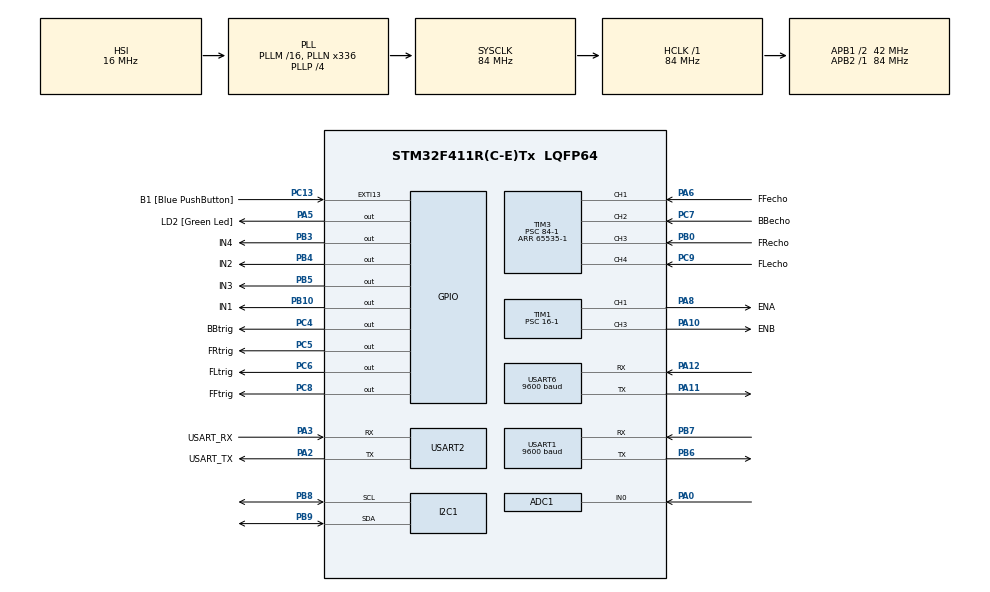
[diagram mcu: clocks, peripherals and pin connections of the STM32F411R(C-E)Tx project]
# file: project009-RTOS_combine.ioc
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ADC1.Channel-0\#ChannelRegularConversion=ADC_CHANNEL_0
ADC1.DMAContinuousRequests=ENABLE
ADC1.DiscontinuousConvMode=ENABLE
ADC1.ExternalTrigConv=ADC_EXTERNALTRIGCONV_T3_TRGO
ADC1.NbrOfConversionFlag=1
ADC1.Rank-0\#ChannelRegularConversion=1
ADC1.SamplingTime-0\#ChannelRegularConversion=ADC_SAMPLETIME_3CYCLES
ADC1.ScanConvMode=ENABLE
ADC1.master=1
Dma.ADC1.0.Direction=DMA_PERIPH_TO_MEMORY
Dma.ADC1.0.FIFOMode=DMA_FIFOMODE_DISABLE
Dma.ADC1.0.Instance=DMA2_Stream0
Dma.ADC1.0.MemDataAlignment=DMA_MDATAALIGN_HALFWORD
Dma.ADC1.0.MemInc=DMA_MINC_ENABLE
Dma.ADC1.0.Mode=DMA_CIRCULAR
Dma.ADC1.0.PeriphDataAlignment=DMA_PDATAALIGN_HALFWORD
Dma.ADC1.0.PeriphInc=DMA_PINC_DISABLE
Dma.ADC1.0.Priority=DMA_PRIORITY_LOW
Dma.Request0=ADC1
FREERTOS.Tasks01=Task1,0,512,StartTask1,Default,NULL,Dynamic,NULL,NULL;Task2,2,1024,StartTask02,Default,NULL,Dynamic,NULL,NULL;Task03,-3,512,StartTask03,Default,NULL,Dynamic,NULL,NULL
FREERTOS.configUSE_NEWLIB_REENTRANT=1
Mcu.Family=STM32F4
Mcu.Name=STM32F411R(C-E)Tx
Mcu.Package=LQFP64
NVIC.DMA2_Stream0_IRQn=true\:5\:0\:false\:false\:true\:true\:false\:true\:true
NVIC.EXTI15_10_IRQn=true\:5\:0\:false\:false\:true\:true\:true\:true\:true
NVIC.PriorityGroup=NVIC_PRIORITYGROUP_4
NVIC.TIM1_UP_TIM10_IRQn=true\:15\:0\:false\:false\:true\:false\:false\:true\:true
NVIC.TIM3_IRQn=true\:5\:0\:false\:false\:true\:true\:true\:true\:true
NVIC.TIM5_IRQn=true\:5\:0\:false\:false\:true\:true\:true\:true\:true
NVIC.TimeBase=TIM1_UP_TIM10_IRQn
NVIC.TimeBaseIP=TIM10
NVIC.USART1_IRQn=true\:5\:0\:false\:false\:true\:true\:true\:true\:true
NVIC.USART2_IRQn=true\:5\:0\:false\:false\:true\:true\:true\:true\:true
NVIC.USART6_IRQn=true\:5\:0\:false\:false\:true\:true\:true\:true\:true
PA0-WKUP.Signal=ADCx_IN0
PA10.GPIO_Label=ENB
PA10.Signal=S_TIM1_CH3
PA11.Mode=Asynchronous
PA11.Signal=USART6_TX
PA12.Mode=Asynchronous
PA12.Signal=USART6_RX
PA13.GPIO_Label=TMS
PA13.Mode=Serial_Wire
PA13.Signal=SYS_JTMS-SWDIO
PA14.GPIO_Label=TCK
PA14.Mode=Serial_Wire
PA14.Signal=SYS_JTCK-SWCLK
PA2.GPIO_Label=USART_TX
PA2.Mode=Asynchronous
PA2.Signal=USART2_TX
PA3.GPIO_Label=USART_RX
PA3.Mode=Asynchronous
PA3.Signal=USART2_RX
PA5.GPIO_Label=LD2 [Green Led]
PA5.Signal=GPIO_Output
PA6.GPIO_Label=FFecho
PA6.Signal=S_TIM3_CH1
PA8.GPIO_Label=ENA
PA8.Signal=S_TIM1_CH1
PB0.GPIO_Label=FRecho
PB0.Signal=S_TIM3_CH3
PB10.GPIO_Label=IN1
PB10.Signal=GPIO_Output
PB3.GPIO_Label=IN4
PB3.Signal=GPIO_Output
PB4.GPIO_Label=IN2
PB4.Signal=GPIO_Output
PB5.GPIO_Label=IN3
PB5.Signal=GPIO_Output
PB6.Mode=Asynchronous
PB6.Signal=USART1_TX
PB7.Mode=Asynchronous
PB7.Signal=USART1_RX
PB8.Mode=I2C
PB8.Signal=I2C1_SCL
PB9.Mode=I2C
PB9.Signal=I2C1_SDA
PC13-ANTI_TAMP.GPIO_Label=B1 [Blue PushButton]
PC13-ANTI_TAMP.GPIO_ModeDefaultEXTI=GPIO_MODE_IT_FALLING
PC13-ANTI_TAMP.Signal=GPXTI13
PC14-OSC32_IN.Mode=LSE-External-Oscillator
PC14-OSC32_IN.Signal=RCC_OSC32_IN
PC15-OSC32_OUT.Mode=LSE-External-Oscillator
PC15-OSC32_OUT.Signal=RCC_OSC32_OUT
PC4.GPIO_Label=BBtrig
PC4.Signal=GPIO_Output
PC5.GPIO_Label=FRtrig
PC5.Signal=GPIO_Output
PC6.GPIO_Label=FLtrig
PC6.Signal=GPIO_Output
PC7.GPIO_Label=BBecho
PC7.Signal=S_TIM3_CH2
PC8.GPIO_Label=FFtrig
PC8.Signal=GPIO_Output
PC9.GPIO_Label=FLecho
PC9.Signal=S_TIM3_CH4
PH0\ -\ OSC_IN.Mode=HSE-External-Clock-Source
PH0\ -\ OSC_IN.Signal=RCC_OSC_IN
PH1\ -\ OSC_OUT.Mode=HSE-External-Clock-Source
PH1\ -\ OSC_OUT.Signal=RCC_OSC_OUT
ProjectManager.HeapSize=0x200
ProjectManager.StackSize=0x400
ProjectManager.TargetToolchain=STM32CubeIDE
RCC.48MHZClocksFreq_Value=84000000
RCC.AHBFreq_Value=84000000
RCC.APB1CLKDivider=RCC_HCLK_DIV2
RCC.APB1Freq_Value=42000000
RCC.APB1TimFreq_Value=84000000
RCC.APB2Freq_Value=84000000
RCC.APB2TimFreq_Value=84000000
RCC.CortexFreq_Value=84000000
RCC.FLatency-AdvancedSettings=FLASH_LATENCY_2
RCC.HCLKFreq_Value=84000000
RCC.HSE_VALUE=8000000
RCC.HSI_VALUE=16000000
RCC.PLLN=336
RCC.PLLP=RCC_PLLP_DIV4
RCC.SYSCLKFreq_VALUE=84000000
RCC.SYSCLKSource=RCC_SYSCLKSOURCE_PLLCLK
RCC.VCOOutputFreq_Value=336000000
SH.ADCx_IN0.0=ADC1_IN0,IN0
SH.S_TIM1_CH1.0=TIM1_CH1,PWM Generation1 CH1
SH.S_TIM1_CH3.0=TIM1_CH3,PWM Generation3 CH3
SH.S_TIM3_CH1.0=TIM3_CH1,Input_Capture1_from_TI1
SH.S_TIM3_CH2.0=TIM3_CH2,Input_Capture2_from_TI2
SH.S_TIM3_CH3.0=TIM3_CH3,Input_Capture3_from_TI3
SH.S_TIM3_CH4.0=TIM3_CH4,Input_Capture4_from_TI4
TIM1.AutoReloadPreload=TIM_AUTORELOAD_PRELOAD_ENABLE
TIM1.Channel-PWM\ Generation1\ CH1=TIM_CHANNEL_1
TIM1.Channel-PWM\ Generation3\ CH3=TIM_CHANNEL_3
TIM1.Period=7500-1
TIM1.Prescaler=16-1
TIM3.AutoReloadPreload=TIM_AUTORELOAD_PRELOAD_ENABLE
TIM3.Channel-Input_Capture1_from_TI1=TIM_CHANNEL_1
TIM3.Channel-Input_Capture2_from_TI2=TIM_CHANNEL_2
TIM3.Channel-Input_Capture3_from_TI3=TIM_CHANNEL_3
TIM3.Channel-Input_Capture4_from_TI4=TIM_CHANNEL_4
TIM3.Period=65535-1
TIM3.Prescaler=84-1
TIM3.TIM_MasterOutputTrigger=TIM_TRGO_UPDATE
TIM5.AutoReloadPreload=TIM_AUTORELOAD_PRELOAD_ENABLE
TIM5.Period=10000-1
TIM5.Prescaler=4200-1
TIM5.TIM_MasterOutputTrigger=TIM_TRGO_UPDATE
USART1.BaudRate=9600
USART1.VirtualMode=VM_ASYNC
USART2.VirtualMode=VM_ASYNC
USART6.BaudRate=9600
USART6.VirtualMode=VM_ASYNC
VP_FREERTOS_VS_CMSIS_V1.Mode=CMSIS_V1
VP_SYS_VS_tim10.Mode=TIM10
VP_TIM1_VS_ClockSourceINT.Mode=Internal
VP_TIM3_VS_ClockSourceINT.Mode=Internal
VP_TIM5_VS_ClockSourceINT.Mode=Internal
board=NUCLEO-F411RE

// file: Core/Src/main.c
/* USER CODE BEGIN Header */
/**
  ******************************************************************************
  * @file           : main.c
  * @brief          : Main program body
  ******************************************************************************
  * @attention
  *
  * Copyright (c) 2025 STMicroelectronics.
  * All rights reserved.
  *
  * This software is licensed under terms that can be found in the LICENSE file
  * in the root directory of this software component.
  * If no LICENSE file comes with this software, it is provided AS-IS.
  *
  ******************************************************************************
  */
/* USER CODE END Header */
#include "main.h"
#include "cmsis_os.h"

/* USER CODE BEGIN Includes */
#include <stdio.h>
#include <math.h>
#include <string.h>

/* USER CODE END Includes */

ADC_HandleTypeDef hadc1;
DMA_HandleTypeDef hdma_adc1;

I2C_HandleTypeDef hi2c1;

TIM_HandleTypeDef htim1;
TIM_HandleTypeDef htim3;
TIM_HandleTypeDef htim5;

UART_HandleTypeDef huart1;
UART_HandleTypeDef huart2;
UART_HandleTypeDef huart6;

osThreadId Task1Handle;
osThreadId Task2Handle;
osThreadId Task03Handle;

void SystemClock_Config(void);
static void MX_GPIO_Init(void);
static void MX_DMA_Init(void);
static void MX_USART2_UART_Init(void);
static void MX_TIM1_Init(void);
static void MX_TIM3_Init(void);
static void MX_TIM5_Init(void);
static void MX_I2C1_Init(void);
static void MX_USART6_UART_Init(void);
static void MX_USART1_UART_Init(void);
static void MX_ADC1_Init(void);
void StartTask1(void const * argument);
void StartTask02(void const * argument);
void StartTask03(void const * argument);

/* USER CODE BEGIN 0 */

// Gyro Max Value
//double MAX_D = 0;
int MAX_D = 0;

// SM has to change huart6
// use : while(!printe("6100"));
int last_printe = 0;
#define BUF_SIZE 100
char buf1[BUF_SIZE], buf2[BUF_SIZE], buf3[BUF_SIZE]; // DMA Buffer
char dum1, dum2, dum3;
int tail1 = 0, tail2 = 0, tail3 = 0; // 1 : ESP, 2 : Putty, 3 : Bluetooth
//int sn; //slave number
int TCP_connect = 1, WIFI_connect = 1, esp_set = 0;
//int ESP_state = 0;

/* ESP8266 Send : Destination Information
Start point1 (8E4591) = D (2100)   		: 8
Destination point2 (37826F) = A(2200)   : 6
charging Station (A7EF18) = B(2300)	: 4 */
int ESP_send = 0;

/* send to ESP : Start Point & Charging Station
Corner (15DA51) = C (1000)
Start point1 (8E4591) = D (1100)
Destination point2 (37826F) = A(1200)
charging Station (A7EF18) = B(1300)*/
int STM_send = 0;

// Driving Mode Select
/*0 : standby, 1 : Passnger, 2 : Drive, 3 : Watchdog, 4 : Destination, 5 : Charge*/
int drive_set = 0;

/* 8E4591 : Start Point, 15DA51 : Corner Point
 37826F : Destination Point, A7EF18 : Charging State Point */
char* slave_addr[5] = {"8E4591", "15DA51", "37826F", "A7EF18"/*, "9B0C60"*/};
/*point1 (8E4591) : 1
point2 (37826F) : 2
pcharge (A7EF18) : 3*/
int BLE_point = 0;
/* Map List
map = 1 : point1 - corner1 - point2 = 7
map = 2 : point1 - corner1 - pcharge = 5
map = 3 : point2 - corner1 - point1 = 10
map = 4 : point2 - corner1 - pcharge = 6
map = 5 : pcharge - corner1 - point1 = 11
map = 6 : pcharge - corner1 - point2 = 9*/
int map_select = 0;
int map_set = 0;
// Drive Mode Set
/*0 : straight, 1 : left, 2 : right, 3 : back*/
int Move_mode = 0;
int RL_cnt = 0;
void MAP_operation()
{
	switch(map_select)
	{
	case 1 :	// 8E4591 - 15DA51 - 37826F
		if(drive_set == 2)
		{
			if((BLE_point == 4) && (!RL_cnt))
			{
				Move_mode = 1;
				RL_cnt = 1;
			}
			else if(BLE_point == 2)
			{
				drive_set = 4;
				RL_cnt = 0;
			}
		}
		break;
	case 2 :	// 8E4591 - 15DA51 - A7EF18
		if((drive_set == 2) || (drive_set == 5))
		{
			if(BLE_point == 4)		Move_mode = 0;
			else if(BLE_point == 3)	drive_set = 4;
		}
		break;
	case 3 :	// 37826F - 15DA51 - 8E4591
		if(drive_set == 2)
		{
			if((BLE_point == 4) && (!RL_cnt))
			{
				Move_mode = 2;
				RL_cnt = 1;
			}
			else if(BLE_point == 1)
			{
				drive_set = 4;
				RL_cnt = 0;
			}
		}
		break;
	case 4 :	// 37826F - 15DA51 - A7EF18
		if((drive_set == 2) || (drive_set == 5))
		{
			if((BLE_point == 4) && (!RL_cnt))
			{
				Move_mode = 1;
				RL_cnt = 1;
			}
			else if(BLE_point == 3)
			{
				drive_set = 4;
				RL_cnt = 0;
			}
		}
		break;
	case 5 :	// A7EF18 - 15DA51 - 8E4591
		if(drive_set == 2)
		{
			if(BLE_point == 4)		Move_mode = 0;
			else if(BLE_point == 1)	drive_set = 4;
		}
		break;
	case 6 :	// A7EF18 - 15DA51 - 37826F
		if(drive_set == 2)
		{
			if((BLE_point == 4) && (!RL_cnt))
			{
				Move_mode = 2;
				RL_cnt = 1;
			}
			else if(BLE_point == 2)
			{
				drive_set = 4;
				RL_cnt = 0;
			}
		}
		break;
	default :
		break;
	}
}

int safe_st = 0;

void HAL_UART_RxCpltCallback(UART_HandleTypeDef *huart)
{
   if(huart == &huart6)
   {
	  //printf("11111111111111111111111111111111111\r\n");
      if((dum1 != '\r') && (dum1 != '\n')) {
         buf1[tail1++] = dum1;
         HAL_UART_Transmit(&huart2, &dum1/*== buf1+t1-1*/, 1, 10);      // putty print
      }

      if(dum1 == '\n')
      {
         if(tail1 != 0) {
           HAL_UART_Transmit(&huart2, "\r\n", 2, 10);
           buf1[tail1] = '\0';

           if(!strncmp(buf1, "4,CONNECT", 9) || !strncmp(buf1, "ALREADY CONNECTED", 17)) {
              TCP_connect = 0;
           }
           if(!strncmp(buf1, "4,CLOSED", 8)) {
              TCP_connect = 1;
           }
//           if(!strncmp(buf1, "WIFI GOT IP", 11)) {
//			WIFI_connect = 0;
//		 }
//           if(!strncmp(buf1, "WIFI DISCONNECT", 15)) {
//        	   WIFI_connect = 1;
//           }
           if(!strncmp(buf1, "OK", 2)) {
        	   esp_set++;
           }
           if(!strncmp(buf1, "+IPD,", 5)) {
			 switch(buf1[9]) {
				case '0':	// Emergency & Normal State Set
				   //buf1[10] 0 : emergency, 1 : Force OK, 2 : Heart Rate OK, 3 : Total OK
					unsigned char ESP_words0 = buf1[10];
					switch(drive_set)
					{
					case 0 :
						if(ESP_words0 == '1')	drive_set = 1;	// Passenger
						else					drive_set = 0;
						break;
					case 1 :
						if(ESP_words0 == '3')	safe_st = 1;
						else					drive_set = 1;
						break;
					case 2 :
						if(ESP_words0 == '0')	drive_set = 3;	//	Watchdog
						else					drive_set = 2;
						break;
					case 3 :
						if(ESP_words0 == '3')	drive_set = 2;
						else					drive_set = 3;
						break;
					}
//					if(drive_set == 2)	// Driveing Mode
//					{
//						if(ESP_words0 == '0')	drive_set = 3;	//	Watchdog
//						else					drive_set = 2;
//					}
//					else if(drive_set == 0) // Standby Mode
//					{
//						if(ESP_words0 == '1')	drive_set = 1;	// Passenger
//						else					drive_set = 0;
//					}
//					else if(drive_set == 1)	// Passenger Mode
//					{
//						if(ESP_words0 == '3')	safe_st = 1;
//						else					drive_set = 1;
//					}
//					else if(drive_set == 3)	// Watchdog Mode
//					{
//						if(ESP_words0 == '3')	drive_set = 2;
//						else					drive_set = 3;
//					}
					break;
//				case '1':	// Origin is xxx (Not use in Server)
//				   // Origin is xxx
//				   break;
				case '2':	// Destination Set
					unsigned char ESP_words1 = buf1[10];
					if(drive_set == 1)
					{
						if(ESP_words1 == '1')		ESP_send = 8;
						else if(ESP_words1 == '2')	ESP_send = 6;
						else if(ESP_words1 == '3')	ESP_send = 4;
					}
				   break;
//				case '3':	// Arrive at Destination (Not use in Server)
//				   break;
//				case '4':	// Hall Sensor
//				   break;
				case '5':	// Force Sensor
					unsigned char ESP_words2 = buf1[10];
					switch(drive_set)
					{
					case 0 :
						if(ESP_words2 == '1')	drive_set = 1;
						else					drive_set = 0;
						break;
					case 1 :
						if(ESP_words2 == '0')	drive_set = 0;
						else					drive_set = 1;
						break;
					}
//					if(drive_set == 0)	// standby Mode
//					{
//						if(ESP_words2 == '1')	drive_set = 1;
//						else					drive_set = 0;
//					}
//					else if(drive_set == 1)	// Passenger Mode
//					{
//						if(ESP_words2 == '0')	drive_set = 0;
//						else					drive_set = 1;
//					}
				   break;
//				case '6':	// Heart Beat Sensor
//				   break;
//				case '7':	// Voltage Sensor (Not use in Server)
//				   printf("remain battery: %s%", comp_buf + 10);
//				   battery = atoi(comp_buf + 10);
//				   break;
//				case '8':	// STM Client
//				   break;
			 }
		  }
        }

         tail1 = 0;
      }
      HAL_UART_Receive_IT(&huart6, &dum1, 1);         // interrupt chain

   }
   else if(huart == &huart1)
	{
	 buf3[tail3++] = dum3;
	 if(1) {
	  HAL_UART_Transmit(&huart2, &dum3/*== buf1+t1-1*/, 1, 10);      // putty print
	 }
	 if(dum3 == '\r')
	 {
	  if(drive_set != 0){
		  char comp_buf[BUF_SIZE];
		  if(tail3 > 15) {
			  sprintf(comp_buf, "%s\n\0", &buf3[tail3 - 7]);
			  // Start Point
			  if(!strncmp(comp_buf, slave_addr[0], 6))	// 8E4591 ( Start Point )
			  {
				  BLE_point = 1;
				  MAP_operation();
				  //printf("========Start BLE %d========\r\n", BLE_point);
			  }
			  // Corner Point
			  else if(!strncmp(comp_buf, slave_addr[1], 6))	// 15DA51 ( Corner Point )
			  {
				  BLE_point = 4;
				  MAP_operation();
				  //printf("========Corner BLE %d========\r\n", BLE_point);
			  }
			  // Destination Point
			  else if(!strncmp(comp_buf, slave_addr[2], 6))	// 37826F ( Destination Point )
			  {
				  BLE_point = 2;
				  MAP_operation();
				  //printf("========Destination BLE %d========\r\n", BLE_point);
			  }
			  // Charging State Point
			  else if(!strncmp(comp_buf, slave_addr[3], 6))	// A7EF18 ( Charging Station )
			  {
				  BLE_point = 3;
				  MAP_operation();
				  //printf("========Charge BLE %d========\r\n", BLE_point);
			  }
		  }
	  }
		tail3 = 0;
	 }
	 HAL_UART_Receive_IT(&huart1, &dum3, 1);         // interrupt chain
	}
   // debug
   else if(huart == &huart2)
   {
      buf2[tail2++] = dum2;
      HAL_UART_Transmit(&huart2, &dum2, 1, 10); // terminal echo
      if(dum2 == '\r')  // CR : 0x0d
      {
         HAL_UART_Transmit(&huart2, "\n", 1, 10); // terminal echo

         buf2[tail2++] = '\n'; // == HAL_UART_Transmit(&huart6, "\n", 1, 10);
         HAL_UART_Transmit(&huart6, buf2, tail2, 10);   // AT Command
//         HAL_UART_Transmit(&huart6, "\n", 1, 10);
         tail2 = 0;
      }
      HAL_UART_Receive_IT(&huart2, &dum2, 1);
   }
}

int server_con = 0;
int send_fin = 0;

void SEND_INFO()
{
	if((drive_set == 1) && (!send_fin) && (ESP_send != 0))
	{
		switch(BLE_point)
		{
		case 1 :
			send_fin = 1;
			printe("1100");
			break;
		case 2 :
			send_fin = 1;
			printe("1200");
			break;
		case 3 :
			send_fin = 1;
			printe("1300");
			break;
		default :
			break;
		}
	}
	else if((drive_set == 4) && (send_fin))
	{
		send_fin = 0;
		printe("3000");
	}
}

int printe(unsigned char* str) {
   if((HAL_GetTick() - last_printe) < 400) {
      return 0;
   }
   else {
      char temp_str[BUF_SIZE], temp_AT[BUF_SIZE];
      int str_len = strlen(str);
      sprintf(temp_str, "%s", str);
      temp_str[str_len++] = '\r';
      temp_str[str_len++] = '\n';
      temp_str[str_len] = '\0';
      if((str_len > 2) && (str_len < 100)) {
         HAL_UART_Transmit(&huart6, "AT+CIPSEND=", 11, 10);
         sprintf(temp_AT, "4,%d\r\n", str_len);
         if(str_len < 10) {
            HAL_UART_Transmit(&huart6, temp_AT, 5, 10);
         }
         else {
            HAL_UART_Transmit(&huart6, temp_AT, 6, 10);
         }
         int n = str_len / 11;
         int i = 0;
         //printf("loading..................................\r\n");
         osDelay(500);
         for(i = 0; i < n; i++) {
            HAL_UART_Transmit(&huart6, temp_str + (i * 11), 11, 10);
         }
         HAL_UART_Transmit(&huart6, temp_str + (i * 11), str_len - (i * 11), 10);
      }
      last_printe = HAL_GetTick();
   }
   return 1;
}

// Motor Mode Control
int Mcntr = 0;

//0 : Slow Stop , 1 : Emergency Stop, 2 : Forward, 3: Backward
//4 : Slow Right, 5 : Quick Right
//6 : Slow Left, 7 : Quick Left
void Motor_Mode(int x)
{
	switch(x) {
		  case 0:		// Emergency Stop
			  HAL_GPIO_WritePin(IN1_GPIO_Port, IN1_Pin, 1);
			  HAL_GPIO_WritePin(IN2_GPIO_Port, IN2_Pin, 1);
			  HAL_GPIO_WritePin(IN3_GPIO_Port, IN3_Pin, 1);
			  HAL_GPIO_WritePin(IN4_GPIO_Port, IN4_Pin, 1);
			  break;
		  case 1:		// Forward
			  htim1.Instance->CCR1 = 2100;
			  htim1.Instance->CCR3 = 2100;

			  HAL_GPIO_WritePin(IN1_GPIO_Port, IN1_Pin, 1);
			  HAL_GPIO_WritePin(IN2_GPIO_Port, IN2_Pin, 0);
			  HAL_GPIO_WritePin(IN3_GPIO_Port, IN3_Pin, 1);
			  HAL_GPIO_WritePin(IN4_GPIO_Port, IN4_Pin, 0);
			  break;
		  case 2:		// Backward
			  htim1.Instance->CCR1 = 2100;
			  htim1.Instance->CCR3 = 2100;
			  HAL_GPIO_WritePin(IN1_GPIO_Port, IN1_Pin, 0);
			  HAL_GPIO_WritePin(IN2_GPIO_Port, IN2_Pin, 1);
			  HAL_GPIO_WritePin(IN3_GPIO_Port, IN3_Pin, 0);
			  HAL_GPIO_WritePin(IN4_GPIO_Port, IN4_Pin, 1);
			  break;
		  case 3:		// Slow Right
			  htim1.Instance->CCR1 = 2300;		//ENA
			  htim1.Instance->CCR3 = 2100;		//ENB

			  HAL_GPIO_WritePin(IN1_GPIO_Port, IN1_Pin, 1);
			  HAL_GPIO_WritePin(IN2_GPIO_Port, IN2_Pin, 0);
			  HAL_GPIO_WritePin(IN3_GPIO_Port, IN3_Pin, 1);
			  HAL_GPIO_WritePin(IN4_GPIO_Port, IN4_Pin, 0);
			  break;
		  case 4:		// Quick Right
			  htim1.Instance->CCR1 = 2200;
			  htim1.Instance->CCR3 = 2200;

			  HAL_GPIO_WritePin(IN1_GPIO_Port, IN1_Pin, 1);
			  HAL_GPIO_WritePin(IN2_GPIO_Port, IN2_Pin, 0);
			  HAL_GPIO_WritePin(IN3_GPIO_Port, IN3_Pin, 0);
			  HAL_GPIO_WritePin(IN4_GPIO_Port, IN4_Pin, 1);
			  break;
		  case 5:		// Slow Left
			  htim1.Instance->CCR1 = 2100;		//ENA
			  htim1.Instance->CCR3 = 2300;		//ENB

			  HAL_GPIO_WritePin(IN1_GPIO_Port, IN1_Pin, 1);
			  HAL_GPIO_WritePin(IN2_GPIO_Port, IN2_Pin, 0);
			  HAL_GPIO_WritePin(IN3_GPIO_Port, IN3_Pin, 1);
			  HAL_GPIO_WritePin(IN4_GPIO_Port, IN4_Pin, 0);
			  break;
		  case 6:		// Quick Left
			  htim1.Instance->CCR1 = 2200;
			  htim1.Instance->CCR3 = 2200;

			  HAL_GPIO_WritePin(IN1_GPIO_Port, IN1_Pin, 0);
			  HAL_GPIO_WritePin(IN2_GPIO_Port, IN2_Pin, 1);
			  HAL_GPIO_WritePin(IN3_GPIO_Port, IN3_Pin, 1);
			  HAL_GPIO_WritePin(IN4_GPIO_Port, IN4_Pin, 0);
			  break;
	}
}

/* 8E4591 : Start Point, 15DA51 : Corner Point
 37826F : Destination Point, A7EF18 : Charging State Point */
//char* slave_addr[5] = {"8E4591", "15DA51", "37826F", "A7EF18"/*, "9B0C60"*/}; // slave address

int slave_state = 0;
/*point1 (8E4591) : 1
point2 (37826F) : 2
pcharge (A7EF18) : 3*/
//int BLE_point = 0;

// Car Driving complete
int move_comp = 0;

// Drive Mode Set
/*0 : straight, 1 : left, 2 : right, 3 : back*/
//int Move_mode = 0
int straight_param = 0;
int obstacle_state = 0;	// right : + 1, left : -1
int left_param = 0;
int right_param = 0;
int desti_param = 0;

// Ultrasonic
double FF_dist = 0, FR_dist = 0, FL_dist = 0, BB_dist = 0;

/*0 : standby, 1 : Passnger, 2 : Drive, 3 : Watchdog, 4 : Destination, 5 : Charge*/
// drive_set

int ST_cnt = 0;
void driving_mode()
{
	switch(drive_set)
	{
	case 0 :	// Standby
		Motor_Mode(0);	// STOP
		Mcntr = 0;		// Stop
		Move_mode = 0;
		left_param = 0;
		right_param = 0;
		desti_param = 0;
		ST_cnt = 0;
		RL_cnt = 0;
		move_comp = 0;	// initialize
		safe_st = 0;
		slave_state = 0;
		BLE_point = 0;
		ESP_send = 0;
		map_select = 0;
		map_set = 0;
		osDelay(10);
		break;
	case 1 :	// Passenger
		Motor_Mode(0);	// STOP
		Mcntr = 0;		// Stop
		osDelay(10);
		break;
	case 2 :	// Drive
		switch(Move_mode)
		{
		case 0 :	// straight
			switch(ST_cnt)
			{
			case 0 :
				if((FF_dist < 400) && (FL_dist < 400) && (FR_dist < 400))
				{
					//printe("=1=               \r\n");
					Mcntr = 0;
					osDelay(400);
					//Move_mode = 3;	// back
				}
				else if((FF_dist < 600) && (FR_dist > 1000) && (FL_dist > 1000))
				{
					//printe("=2=               \r\n");
					Mcntr = 0;
					osDelay(400);
					ST_cnt = 1;
				}
				else if((FF_dist < 600) && ((FR_dist > 1000) || (FL_dist > 1000)))
				{
					//printe("=3=               \r\n");
					Mcntr = 0;
					osDelay(400);
					ST_cnt = 1;
				}
				if(FF_dist < 400)
				{
					Mcntr = 0;
					osDelay(400);
				}
				else
				{
					// Debug
					left_param = 0;
					right_param = 0;
					ST_cnt = 0;
					Mcntr = 1;
					osDelay(10);
				}
				break;
			case 1 :
				if((FF_dist < 600) && (FR_dist > 1000) && (FL_dist > 1000))
				{
					switch(straight_param)
					{
					case 0 :
						if(obstacle_state < 0)
						{
							//printe("=4=               \r\n");
							Mcntr = 4;				// Quick Right
							obstacle_state++;		// right turn 1
							straight_param = 1;
						}
						else
						{
							//printe("=5=               \r\n");
							Mcntr = 6;				// Quick Left
							obstacle_state--;		// left turn 1
							straight_param = 1;
						}
						osDelay(10);
						break;
					case 1 :
						if((MAX_D < -90) || (MAX_D > 90))
						{
							//printe("=6=               \r\n");
							Mcntr = 0;
							osDelay(400);
							straight_param = 0;
							ST_cnt = 0;
						}
						osDelay(10);
						break;
					}
				}
				else if((FF_dist < 600) && ((FR_dist > 1000) || (FL_dist > 1000)))
				{
					switch(straight_param)
					{
					case 0 :
						if(FR_dist > FL_dist)
						{
							//printe("=7=               \r\n");
							Mcntr = 4;				// Quick Right
							obstacle_state++;		// right turn 1
							straight_param = 1;
						}
						else
						{
							//printe("=8=               \r\n");
							Mcntr = 6;				// Quick Left
							obstacle_state--;		// left turn 1
							straight_param = 1;
						}
						osDelay(10);
						break;
					case 1 :
						if((MAX_D < -90) || (MAX_D > 90))
						{
							//printe("=9=               \r\n");
							Mcntr = 0;
							osDelay(400);
							straight_param = 0;
							ST_cnt = 0;
						}
						osDelay(10);
						break;
					}
				}
				break;
			}
			break;
		case 1 :	// left
			switch(left_param)
			{
			case 0 :
				//Motor_Mode(1);	// forward
				Mcntr = 1;
				if(FL_dist > 1000)
				{
					Motor_Mode(0);	// STOP
					Mcntr = 0;
					osDelay(400);
					//Read_Z_Angle(&MAX_D);
					left_param = 1;
				}
				osDelay(10);
				break;
			case 1 :
				//Read_Z_Angle(&MAX_D);
				//Motor_Mode(6);	// Quick Left
				Mcntr = 6;
				if(MAX_D < -90)
				{
					Motor_Mode(0);	// STOP
					Mcntr = 0;
					osDelay(400);
					left_param = 2;
				}
				osDelay(10);
				break;
			case 2 :
				//Motor_Mode(1);	// forward
				Mcntr = 1;
				osDelay(100);
				Move_mode = 0;
				break;
			}
			break;
		case 2 :	// right
			switch(right_param)
			{
			case 0 :
				//Motor_Mode(1);	// forward
				Mcntr = 1;
				if(FR_dist > 1000)
				{
					Motor_Mode(0);	// STOP
					Mcntr = 0;
					osDelay(400);
					//Read_Z_Angle(&MAX_D);
					right_param = 1;
				}
				osDelay(10);
				break;
			case 1 :
				//Read_Z_Angle(&MAX_D);
				//Motor_Mode(4);	// Quick right
				Mcntr = 4;
				if(MAX_D > 90)
				{
					Motor_Mode(0);	// STOP
					Mcntr = 0;
					osDelay(400);
					right_param = 2;
				}
				osDelay(10);
				break;
			case 2 :
				//Motor_Mode(1);	// forward
				Mcntr = 1;
				osDelay(100);
				Move_mode = 0;
				break;
			}
			break;
		case 3 :	// back
			if((FR_dist > 1000) && (FL_dist > 1000))
			{
				Motor_Mode(0);	// STOP
				Mcntr = 0;
				osDelay(400);
				Move_mode = 0;
			}
			else if(BB_dist < 400)
			{
				Motor_Mode(0);	// STOP
				Mcntr = 0;
				osDelay(400);
			}
			else
			{
				//Motor_Mode(2);	// backward
				Mcntr = 2;
				osDelay(10);
			}
			break;
		}

		break;
	case 3 :	// Watchdog
		Motor_Mode(0);	// STOP
		Mcntr = 0;		// Stop
		osDelay(10);
		break;
	case 4 :	//Destination
		switch(desti_param)
		{
		case 0 :
			//Motor_Mode(1);	// forward
			Mcntr = 1;
			if(FF_dist < 700)
			{
				Motor_Mode(0);	// STOP
				Mcntr = 0;
				osDelay(400);
				//Read_Z_Angle(&MAX_D);
				//osDelay(10);
				desti_param = 1;
			}
			osDelay(10);
			break;
		case 1 :
			//Read_Z_Angle(&MAX_D);
			//Motor_Mode(6);	// Quick Left
			Mcntr = 6;
			if(MAX_D < -175)
			{
				Motor_Mode(0);	// STOP
				Mcntr = 0;
				osDelay(400);
				desti_param = 2;
			}
			osDelay(10);
			break;
		case 2 :
			//Motor_Mode(2);	// backward
			Mcntr = 2;
			if(BB_dist < 400)
			{
				Motor_Mode(0);	// STOP
				Mcntr = 0;
				osDelay(400);
				desti_param = 0;
				drive_set = 0;
				move_comp = 1;
			}
			osDelay(10);
			break;
		}
		break;
	case 5 :	// Charging Station
		switch(Move_mode)
		{
		case 0 :	// straight
			switch(ST_cnt)
			{
			case 0 :
				if((FF_dist < 400) && (FL_dist < 400) && (FR_dist < 400))
				{
					//printe("=1=               \r\n");
					Mcntr = 0;
					osDelay(400);
					//Move_mode = 3;	// back
				}
				else if((FF_dist < 600) && (FR_dist > 1000) && (FL_dist > 1000))
				{
					//printe("=2=               \r\n");
					Mcntr = 0;
					osDelay(400);
					ST_cnt = 1;
				}
				else if((FF_dist < 600) && ((FR_dist > 1000) || (FL_dist > 1000)))
				{
					//printe("=3=               \r\n");
					Mcntr = 0;
					osDelay(400);
					ST_cnt = 1;
				}
				if(FF_dist < 400)
				{
					Mcntr = 0;
					osDelay(400);
				}
				else
				{
					left_param = 0;
					right_param = 0;
					ST_cnt = 0;
					Mcntr = 1;
					osDelay(10);
				}
				break;
			case 1 :
				if((FF_dist < 600) && (FR_dist > 1000) && (FL_dist > 1000))
				{
					switch(straight_param)
					{
					case 0 :
						if(obstacle_state < 0)
						{
							//printe("=4=               \r\n");
							Mcntr = 4;				// Quick Right
							obstacle_state++;		// right turn 1
							straight_param = 1;
						}
						else
						{
							//printe("=5=               \r\n");
							Mcntr = 6;				// Quick Left
							obstacle_state--;		// left turn 1
							straight_param = 1;
						}
						osDelay(10);
						break;
					case 1 :
						if((MAX_D < -90) || (MAX_D > 90))
						{
							//printe("=6=               \r\n");
							Mcntr = 0;
							osDelay(400);
							straight_param = 0;
							ST_cnt = 0;
						}
						osDelay(10);
						break;
					}
				}
				else if((FF_dist < 600) && ((FR_dist > 1000) || (FL_dist > 1000)))
				{
					switch(straight_param)
					{
					case 0 :
						if(FR_dist > FL_dist)
						{
							//printe("=7=               \r\n");
							Mcntr = 4;				// Quick Right
							obstacle_state++;		// right turn 1
							straight_param = 1;
						}
						else
						{
							//printe("=8=               \r\n");
							Mcntr = 6;				// Quick Left
							obstacle_state--;		// left turn 1
							straight_param = 1;
						}
						osDelay(10);
						break;
					case 1 :
						if((MAX_D < -90) || (MAX_D > 90))
						{
							//printe("=9=               \r\n");
							Mcntr = 0;
							osDelay(400);
							straight_param = 0;
							ST_cnt = 0;
						}
						osDelay(10);
						break;
					}
				}
				break;
			}
			break;
		case 1 :	// left
			switch(left_param)
			{
			case 0 :
				//Motor_Mode(1);	// forward
				Mcntr = 1;
				if(FL_dist > 1000)
				{
					Motor_Mode(0);	// STOP
					Mcntr = 0;
					osDelay(400);
					//Read_Z_Angle(&MAX_D);
					left_param = 1;
				}
				osDelay(10);
				break;
			case 1 :
				//Read_Z_Angle(&MAX_D);
				//Motor_Mode(6);	// Quick Left
				Mcntr = 6;
				if(MAX_D < -90)
				{
					Motor_Mode(0);	// STOP
					Mcntr = 0;
					osDelay(400);
					left_param = 2;
				}
				osDelay(10);
				break;
			case 2 :
				//Motor_Mode(1);	// forward
				Mcntr = 1;
				osDelay(100);
				Move_mode = 0;
				break;
			}
			break;
		case 2 :	// right
			switch(right_param)
			{
			case 0 :
				//Motor_Mode(1);	// forward
				Mcntr = 1;
				if(FR_dist > 1000)
				{
					Motor_Mode(0);	// STOP
					Mcntr = 0;
					osDelay(400);
					//Read_Z_Angle(&MAX_D);
					right_param = 1;
				}
				osDelay(10);
				break;
			case 1 :
				//Read_Z_Angle(&MAX_D);
				//Motor_Mode(4);	// Quick right
				Mcntr = 4;
				if(MAX_D > 90)
				{
					Motor_Mode(0);	// STOP
					Mcntr = 0;
					osDelay(400);
					right_param = 2;
				}
				osDelay(10);
				break;
			case 2 :
				//Motor_Mode(1);	// forward
				Mcntr = 1;
				osDelay(100);
				Move_mode = 0;
				break;
			}
			break;
		case 3 :	// back
			if((FR_dist > 1000) && (FL_dist > 1000))
			{
				Motor_Mode(0);	// STOP
				Mcntr = 0;
				osDelay(400);
				Move_mode = 0;
			}
			else if(BB_dist < 400)
			{
				Motor_Mode(0);	// STOP
				Mcntr = 0;
				osDelay(400);
			}
			else
			{
				//Motor_Mode(2);	// backward
				Mcntr = 2;
				osDelay(10);
			}
			break;
		}

		break;
	}
}

void MAP_LOAD()
{
	// in Passenger Mode
	if(drive_set == 1)
	{
		if(!map_set)
		{
			int map_ch = BLE_point + ESP_send;
			switch(map_ch)
			{
			case 5 :
				map_select = 2;
				map_set = 1;
				break;
			case 6 :
				map_select = 4;
				map_set = 1;
				break;
			case 7 :
				map_select = 1;
				map_set = 1;
				break;
			case 9 :
				map_select = 6;
				map_set = 1;
				break;
			case 10 :
				map_select = 3;
				map_set = 1;
				break;
			case 11 :
				map_select = 5;
				map_set = 1;
				break;
			default :
				map_select = 0;
				map_set = 0;
				break;
			}
		}
		else
		{
			if(safe_st)	drive_set = 2;
		}
	}
//	else if(drive_set == 0)
//	{
//		safe_st = 0;
//		slave_state = 0;
//		BLE_point = 0;
//		ESP_send = 0;
//		map_select = 0;
//		map_set = 0;
//	}
}

void HAL_GPIO_EXTI_Callback(uint16_t GPIO_Pin)
{
  switch(GPIO_Pin) {
	case GPIO_PIN_13:
		drive_set = 5;		// charge
		map_select = 4;		// point2 - charge

//		 drive_set = 2;	// drive
//		map_select = 1;	// point1 - point2
//		esp_set = 3;
		break;
  }
}

int fF_t1 = 0, fF_t2 = 0;
int fR_t1 = 0, fR_t2 = 0;
int fL_t1 = 0, fL_t2 = 0;
int bB_t1 = 0, bB_t2 = 0;
uint8_t fF_Flag = 0;
uint8_t bB_Flag = 0;
uint8_t fR_Flag = 0;
uint8_t fL_Flag = 0;
void HAL_TIM_IC_CaptureCallback(TIM_HandleTypeDef *htim)
{
	// Ultrasonic TIM_IC
  if (htim->Instance == TIM3)
  {
    if (htim->Channel == HAL_TIM_ACTIVE_CHANNEL_1)	// FF_Echo
    {
      if (fF_Flag == 0)  // Rising Edge
      {
    	  fF_t1 = HAL_TIM_ReadCapturedValue(htim, TIM_CHANNEL_1);
    	  // Capture state
    	  fF_Flag = 1;

        // set Falling Edge Detect Mode
        __HAL_TIM_SET_CAPTUREPOLARITY(htim, TIM_CHANNEL_1, TIM_INPUTCHANNELPOLARITY_FALLING);
      }
      else if (fF_Flag == 1)  // Falling Edge
      {
        fF_t2 = HAL_TIM_ReadCapturedValue(htim, TIM_CHANNEL_1);
        uint32_t max_cnt = __HAL_TIM_GET_AUTORELOAD(htim);	// Timer MAX Value

        // Distance
        // (t us * 340 m/s) / 2 -> t * 0.17 mm/us

        if (fF_t2 > fF_t1)
        {
          FF_dist = ((fF_t2 - fF_t1) * 17) / 100.0;
        }
        else
        {
        	FF_dist = (((max_cnt - fF_t1) + fF_t2 + 1) * 17) / 100.0;
        }

        // Capture State initial
        fF_Flag = 0;

        // Set Rising Edge Detect Mode
        __HAL_TIM_SET_CAPTUREPOLARITY(htim, TIM_CHANNEL_1, TIM_INPUTCHANNELPOLARITY_RISING);
        //__HAL_TIM_SET_COUNTER(htim, 0); // Timer Counter Initial
      }
    }
    if (htim->Channel == HAL_TIM_ACTIVE_CHANNEL_2)	// BB_Echo
    {
	  if (bB_Flag == 0)  // Rising Edge
	  {
		  bB_t1 = HAL_TIM_ReadCapturedValue(htim, TIM_CHANNEL_2);
		  // Capture state
		  bB_Flag = 1;

		// set Falling Edge Detect Mode
		__HAL_TIM_SET_CAPTUREPOLARITY(htim, TIM_CHANNEL_2, TIM_INPUTCHANNELPOLARITY_FALLING);
	  }
	  else if (bB_Flag == 1)  // Falling Edge
	  {
		bB_t2 = HAL_TIM_ReadCapturedValue(htim, TIM_CHANNEL_2);
		uint32_t max_cnt = __HAL_TIM_GET_AUTORELOAD(htim);	// Timer MAX Value

		// Distance
		// (t us * 340 m/s) / 2 -> t * 0.17 mm/us
		if (bB_t2 > bB_t1)
		{
		  BB_dist = ((bB_t2 - bB_t1) * 17) / 100.0;
		}
		else
		{
			BB_dist = (((max_cnt - bB_t1) + bB_t2 + 1) * 17) / 100.0;
		}

		// Capture State initial
		bB_Flag = 0;

		// Set Rising Edge Detect Mode
		__HAL_TIM_SET_CAPTUREPOLARITY(htim, TIM_CHANNEL_2, TIM_INPUTCHANNELPOLARITY_RISING);
		//__HAL_TIM_SET_COUNTER(htim, 0); // Timer Counter Initial
	  }
	}
    if (htim->Channel == HAL_TIM_ACTIVE_CHANNEL_3)	// FR_Echo
	{
	  if (fR_Flag == 0)  // Rising Edge
	  {
		  fR_t1 = HAL_TIM_ReadCapturedValue(htim, TIM_CHANNEL_3);
		  // Capture state
		  fR_Flag = 1;

		// set Falling Edge Detect Mode
		__HAL_TIM_SET_CAPTUREPOLARITY(htim, TIM_CHANNEL_3, TIM_INPUTCHANNELPOLARITY_FALLING);
	  }
	  else if (fR_Flag == 1)  // Falling Edge
	  {
		fR_t2 = HAL_TIM_ReadCapturedValue(htim, TIM_CHANNEL_3);
		uint32_t max_cnt = __HAL_TIM_GET_AUTORELOAD(htim);	// Timer MAX Value

		// Distance
		// (t us * 340 m/s) / 2 -> t * 0.17 mm/us
		if (fR_t2 > fR_t1)
		{
		  FR_dist = ((fR_t2 - fR_t1) * 17) / 100.0;
		}
		else
		{
			FR_dist = (((max_cnt - fR_t1) + fR_t2 + 1) * 17) / 100.0;
		}

		// Capture State initial
		fR_Flag = 0;

		// Set Rising Edge Detect Mode
		__HAL_TIM_SET_CAPTUREPOLARITY(htim, TIM_CHANNEL_3, TIM_INPUTCHANNELPOLARITY_RISING);
		//__HAL_TIM_SET_COUNTER(htim, 0); // Timer Counter Initial
	  }
	}
    if (htim->Channel == HAL_TIM_ACTIVE_CHANNEL_4)	// FR_Echo
	{
	  if (fL_Flag == 0)  // Rising Edge
	  {
		  fL_t1 = HAL_TIM_ReadCapturedValue(htim, TIM_CHANNEL_4);
		  // Capture state
		  fL_Flag = 1;

		// set Falling Edge Detect Mode
		__HAL_TIM_SET_CAPTUREPOLARITY(htim, TIM_CHANNEL_4, TIM_INPUTCHANNELPOLARITY_FALLING);
	  }
	  else if (fL_Flag == 1)  // Falling Edge
	  {
		fL_t2 = HAL_TIM_ReadCapturedValue(htim, TIM_CHANNEL_4);
		uint32_t max_cnt = __HAL_TIM_GET_AUTORELOAD(htim);	// Timer MAX Value

		// Distance
		// (t us * 340 m/s) / 2 -> t * 0.17 mm/us
		if (fL_t2 > fL_t1)
		{
		  FL_dist = ((fL_t2 - fL_t1) * 17) / 100.0;
		}
		else
		{
			FL_dist = (((max_cnt - fL_t1) + fL_t2 + 1) * 17) / 100.0;
		}

		// Capture State initial
		fL_Flag = 0;

		// Set Rising Edge Detect Mode
		__HAL_TIM_SET_CAPTUREPOLARITY(htim, TIM_CHANNEL_4, TIM_INPUTCHANNELPOLARITY_RISING);
		//__HAL_TIM_SET_COUNTER(htim, 0); // Timer Counter Initial
	  }
	}
  }
}

// Voltage Sensor
unsigned int val;			 // Voltage Sensor ADC
unsigned int volt[100];
unsigned int voltage_i = 0;
unsigned int voltage_en = 0;
float voltage = 0.0;         // Current Voltage
float voltage_L = 12.45;		 // Lower Voltage
#define min_voltage 9.00
#define max_voltage 12.45
#define voltage_param (max_voltage - min_voltage)
int volt_cnt = 0;
void Voltage_state()
{
	unsigned int avolt = 0;	     // Average
	volt[voltage_i++] = val;
	//printf("voltage_i : %d \r\n", voltage_i);
	if(voltage_i >= 10) {
		voltage_i = 0;
		voltage_en = 1;
	}
	if(voltage_en) {
		for(int i = 0; i < 10; i++)
		{
			if(volt[i] == 0)	volt[i] = 3100;
		  avolt += volt[i];
		}
		voltage = avolt * 5 * 3.3 / 40950; // 평균 (avolt / 10) * Resolution (3.3 / 4095) * 분배비 5
		//printf("voltage : %.2f \r\n", voltage);
		if(volt_cnt == 0)
		{
			printe("7100");
			volt_cnt++;
		}
		else if(voltage < voltage_L)
		{
		  voltage_L = voltage;
		  float curr_volt = (1 - ((max_voltage - voltage_L) / voltage_param)) * 100;

		  unsigned char vtest_buf1[10];
  		  sprintf(vtest_buf1, "7%03d", (int)curr_volt);
  		  printe(vtest_buf1);

		  if((int)curr_volt < 15)	drive_set = 5;

		  /*debug*/
//		  unsigned char vtest_buf1[50];
//		  sprintf(vtest_buf1, "V:%.2f\r\n", voltage_L);
//		  printe(vtest_buf1);
//		  printf("Average ADC Volt : %.3f \r\n", voltage_L);
//
//		  unsigned char vtest_buf2[50];
//		  sprintf(vtest_buf2, "B:%d\r\n", (int)curr_volt);
//		  printe(vtest_buf2);
		  //printf("배터리 충전 상태 : 7%03d \r\n", (int)curr_volt);
		}
		else if(voltage < 0)
		{
			printe("7000");
		}

//		float curr_volt2 = (1 - ((max_voltage - voltage) / voltage_param)) * 100;
//		printf("배터리 충전 상태 : 7%03d \r\n", (int)curr_volt2);
		voltage_en = 0;
	}
}

/* USER CODE END 0 */

int main(void)
{

  /* MCU Configuration--------------------------------------------------------*/

  /* Reset of all peripherals, Initializes the Flash interface and the Systick. */
  HAL_Init();

  /* Configure the system clock */
  SystemClock_Config();

  /* Initialize all configured peripherals */
  MX_GPIO_Init();
  MX_DMA_Init();
  MX_USART2_UART_Init();
  MX_TIM1_Init();
  MX_TIM3_Init();
  MX_TIM5_Init();
  MX_I2C1_Init();
  MX_USART6_UART_Init();
  MX_USART1_UART_Init();
  MX_ADC1_Init();

  /* Create the thread(s) */
  /* definition and creation of Task1 */
  osThreadDef(Task1, StartTask1, osPriorityNormal, 0, 512);
  Task1Handle = osThreadCreate(osThread(Task1), NULL);

  /* definition and creation of Task2 */
  osThreadDef(Task2, StartTask02, osPriorityHigh, 0, 1024);
  Task2Handle = osThreadCreate(osThread(Task2), NULL);

  /* definition and creation of Task03 */
  osThreadDef(Task03, StartTask03, osPriorityIdle, 0, 512);
  Task03Handle = osThreadCreate(osThread(Task03), NULL);

  /* USER CODE BEGIN RTOS_THREADS */
  /* add threads, ... */

	HAL_TIM_PWM_Start(&htim1, TIM_CHANNEL_1);	// Motor PWM1
	HAL_TIM_PWM_Start(&htim1, TIM_CHANNEL_3);	// Motor PWM2

	HAL_TIM_IC_Start_IT(&htim3, TIM_CHANNEL_1);	// Ultrasonic FF_Echo
	HAL_TIM_IC_Start_IT(&htim3, TIM_CHANNEL_2);	// Ultrasonic BB_Echo
	HAL_TIM_IC_Start_IT(&htim3, TIM_CHANNEL_3);	// Ultrasonic FR_Echo
	HAL_TIM_IC_Start_IT(&htim3, TIM_CHANNEL_4);	// Ultrasonic FL_Echo

	i2c_Gyro_init(&hi2c1);
	Gyro_ModuleSet();
	UART_Start_Receive_IT(&huart1, &dum3, 1);	// Bluetooth
	UART_Start_Receive_IT(&huart2, &dum2, 1);	// Putty
	UART_Start_Receive_IT(&huart6, &dum1, 1);	// ESP8266
	HAL_TIM_Base_Start_IT(&htim5);				// bluetooth AT Command Interrupt
	HAL_ADC_Start_DMA(&hadc1, &val, 1);
	HAL_TIM_Base_Start_IT(&htim3);				// Voltage_state Operation

  /* USER CODE END RTOS_THREADS */

  /* Start scheduler */
  osKernelStart();

  /* We should never get here as control is now taken by the scheduler */
  /* Infinite loop */
  while (1)
  {

  }
}

void SystemClock_Config(void)
{
  RCC_OscInitTypeDef RCC_OscInitStruct = {0};
  RCC_ClkInitTypeDef RCC_ClkInitStruct = {0};

  /** Configure the main internal regulator output voltage
  */
  __HAL_RCC_PWR_CLK_ENABLE();
  __HAL_PWR_VOLTAGESCALING_CONFIG(PWR_REGULATOR_VOLTAGE_SCALE1);

  /** Initializes the RCC Oscillators according to the specified parameters
  * in the RCC_OscInitTypeDef structure.
  */
  RCC_OscInitStruct.OscillatorType = RCC_OSCILLATORTYPE_HSI;
  RCC_OscInitStruct.HSIState = RCC_HSI_ON;
  RCC_OscInitStruct.HSICalibrationValue = RCC_HSICALIBRATION_DEFAULT;
  RCC_OscInitStruct.PLL.PLLState = RCC_PLL_ON;
  RCC_OscInitStruct.PLL.PLLSource = RCC_PLLSOURCE_HSI;
  RCC_OscInitStruct.PLL.PLLM = 16;
  RCC_OscInitStruct.PLL.PLLN = 336;
  RCC_OscInitStruct.PLL.PLLP = RCC_PLLP_DIV4;
  RCC_OscInitStruct.PLL.PLLQ = 4;
  if (HAL_RCC_OscConfig(&RCC_OscInitStruct) != HAL_OK)
  {
    Error_Handler();
  }

  /** Initializes the CPU, AHB and APB buses clocks
  */
  RCC_ClkInitStruct.ClockType = RCC_CLOCKTYPE_HCLK|RCC_CLOCKTYPE_SYSCLK
                              |RCC_CLOCKTYPE_PCLK1|RCC_CLOCKTYPE_PCLK2;
  RCC_ClkInitStruct.SYSCLKSource = RCC_SYSCLKSOURCE_PLLCLK;
  RCC_ClkInitStruct.AHBCLKDivider = RCC_SYSCLK_DIV1;
  RCC_ClkInitStruct.APB1CLKDivider = RCC_HCLK_DIV2;
  RCC_ClkInitStruct.APB2CLKDivider = RCC_HCLK_DIV1;

  if (HAL_RCC_ClockConfig(&RCC_ClkInitStruct, FLASH_LATENCY_2) != HAL_OK)
  {
    Error_Handler();
  }
}

static void MX_ADC1_Init(void)
{

  ADC_ChannelConfTypeDef sConfig = {0};

  /** Configure the global features of the ADC (Clock, Resolution, Data Alignment and number of conversion)
  */
  hadc1.Instance = ADC1;
  hadc1.Init.ClockPrescaler = ADC_CLOCK_SYNC_PCLK_DIV4;
  hadc1.Init.Resolution = ADC_RESOLUTION_12B;
  hadc1.Init.ScanConvMode = ENABLE;
  hadc1.Init.ContinuousConvMode = DISABLE;
  hadc1.Init.DiscontinuousConvMode = ENABLE;
  hadc1.Init.NbrOfDiscConversion = 1;
  hadc1.Init.ExternalTrigConvEdge = ADC_EXTERNALTRIGCONVEDGE_RISING;
  hadc1.Init.ExternalTrigConv = ADC_EXTERNALTRIGCONV_T3_TRGO;
  hadc1.Init.DataAlign = ADC_DATAALIGN_RIGHT;
  hadc1.Init.NbrOfConversion = 1;
  hadc1.Init.DMAContinuousRequests = ENABLE;
  hadc1.Init.EOCSelection = ADC_EOC_SINGLE_CONV;
  if (HAL_ADC_Init(&hadc1) != HAL_OK)
  {
    Error_Handler();
  }

  /** Configure for the selected ADC regular channel its corresponding rank in the sequencer and its sample time.
  */
  sConfig.Channel = ADC_CHANNEL_0;
  sConfig.Rank = 1;
  sConfig.SamplingTime = ADC_SAMPLETIME_3CYCLES;
  if (HAL_ADC_ConfigChannel(&hadc1, &sConfig) != HAL_OK)
  {
    Error_Handler();
  }

}

static void MX_I2C1_Init(void)
{

  hi2c1.Instance = I2C1;
  hi2c1.Init.ClockSpeed = 100000;
  hi2c1.Init.DutyCycle = I2C_DUTYCYCLE_2;
  hi2c1.Init.OwnAddress1 = 0;
  hi2c1.Init.AddressingMode = I2C_ADDRESSINGMODE_7BIT;
  hi2c1.Init.DualAddressMode = I2C_DUALADDRESS_DISABLE;
  hi2c1.Init.OwnAddress2 = 0;
  hi2c1.Init.GeneralCallMode = I2C_GENERALCALL_DISABLE;
  hi2c1.Init.NoStretchMode = I2C_NOSTRETCH_DISABLE;
  if (HAL_I2C_Init(&hi2c1) != HAL_OK)
  {
    Error_Handler();
  }

}

static void MX_TIM1_Init(void)
{

  TIM_ClockConfigTypeDef sClockSourceConfig = {0};
  TIM_MasterConfigTypeDef sMasterConfig = {0};
  TIM_OC_InitTypeDef sConfigOC = {0};
  TIM_BreakDeadTimeConfigTypeDef sBreakDeadTimeConfig = {0};

  htim1.Instance = TIM1;
  htim1.Init.Prescaler = 16-1;
  htim1.Init.CounterMode = TIM_COUNTERMODE_UP;
  htim1.Init.Period = 7500-1;
  htim1.Init.ClockDivision = TIM_CLOCKDIVISION_DIV1;
  htim1.Init.RepetitionCounter = 0;
  htim1.Init.AutoReloadPreload = TIM_AUTORELOAD_PRELOAD_ENABLE;
  if (HAL_TIM_Base_Init(&htim1) != HAL_OK)
  {
    Error_Handler();
  }
  sClockSourceConfig.ClockSource = TIM_CLOCKSOURCE_INTERNAL;
  if (HAL_TIM_ConfigClockSource(&htim1, &sClockSourceConfig) != HAL_OK)
  {
    Error_Handler();
  }
  if (HAL_TIM_PWM_Init(&htim1) != HAL_OK)
  {
    Error_Handler();
  }
  sMasterConfig.MasterOutputTrigger = TIM_TRGO_RESET;
  sMasterConfig.MasterSlaveMode = TIM_MASTERSLAVEMODE_DISABLE;
  if (HAL_TIMEx_MasterConfigSynchronization(&htim1, &sMasterConfig) != HAL_OK)
  {
    Error_Handler();
  }
  sConfigOC.OCMode = TIM_OCMODE_PWM1;
  sConfigOC.Pulse = 0;
  sConfigOC.OCPolarity = TIM_OCPOLARITY_HIGH;
  sConfigOC.OCNPolarity = TIM_OCNPOLARITY_HIGH;
  sConfigOC.OCFastMode = TIM_OCFAST_DISABLE;
  sConfigOC.OCIdleState = TIM_OCIDLESTATE_RESET;
  sConfigOC.OCNIdleState = TIM_OCNIDLESTATE_RESET;
  if (HAL_TIM_PWM_ConfigChannel(&htim1, &sConfigOC, TIM_CHANNEL_1) != HAL_OK)
  {
    Error_Handler();
  }
  if (HAL_TIM_PWM_ConfigChannel(&htim1, &sConfigOC, TIM_CHANNEL_3) != HAL_OK)
  {
    Error_Handler();
  }
  sBreakDeadTimeConfig.OffStateRunMode = TIM_OSSR_DISABLE;
  sBreakDeadTimeConfig.OffStateIDLEMode = TIM_OSSI_DISABLE;
  sBreakDeadTimeConfig.LockLevel = TIM_LOCKLEVEL_OFF;
  sBreakDeadTimeConfig.DeadTime = 0;
  sBreakDeadTimeConfig.BreakState = TIM_BREAK_DISABLE;
  sBreakDeadTimeConfig.BreakPolarity = TIM_BREAKPOLARITY_HIGH;
  sBreakDeadTimeConfig.AutomaticOutput = TIM_AUTOMATICOUTPUT_DISABLE;
  if (HAL_TIMEx_ConfigBreakDeadTime(&htim1, &sBreakDeadTimeConfig) != HAL_OK)
  {
    Error_Handler();
  }
  HAL_TIM_MspPostInit(&htim1);

}

static void MX_TIM3_Init(void)
{

  TIM_ClockConfigTypeDef sClockSourceConfig = {0};
  TIM_MasterConfigTypeDef sMasterConfig = {0};
  TIM_IC_InitTypeDef sConfigIC = {0};

  htim3.Instance = TIM3;
  htim3.Init.Prescaler = 84-1;
  htim3.Init.CounterMode = TIM_COUNTERMODE_UP;
  htim3.Init.Period = 65535-1;
  htim3.Init.ClockDivision = TIM_CLOCKDIVISION_DIV1;
  htim3.Init.AutoReloadPreload = TIM_AUTORELOAD_PRELOAD_ENABLE;
  if (HAL_TIM_Base_Init(&htim3) != HAL_OK)
  {
    Error_Handler();
  }
  sClockSourceConfig.ClockSource = TIM_CLOCKSOURCE_INTERNAL;
  if (HAL_TIM_ConfigClockSource(&htim3, &sClockSourceConfig) != HAL_OK)
  {
    Error_Handler();
  }
  if (HAL_TIM_IC_Init(&htim3) != HAL_OK)
  {
    Error_Handler();
  }
  sMasterConfig.MasterOutputTrigger = TIM_TRGO_UPDATE;
  sMasterConfig.MasterSlaveMode = TIM_MASTERSLAVEMODE_DISABLE;
  if (HAL_TIMEx_MasterConfigSynchronization(&htim3, &sMasterConfig) != HAL_OK)
  {
    Error_Handler();
  }
  sConfigIC.ICPolarity = TIM_INPUTCHANNELPOLARITY_RISING;
  sConfigIC.ICSelection = TIM_ICSELECTION_DIRECTTI;
  sConfigIC.ICPrescaler = TIM_ICPSC_DIV1;
  sConfigIC.ICFilter = 0;
  if (HAL_TIM_IC_ConfigChannel(&htim3, &sConfigIC, TIM_CHANNEL_1) != HAL_OK)
  {
    Error_Handler();
  }
  if (HAL_TIM_IC_ConfigChannel(&htim3, &sConfigIC, TIM_CHANNEL_2) != HAL_OK)
  {
    Error_Handler();
  }
  if (HAL_TIM_IC_ConfigChannel(&htim3, &sConfigIC, TIM_CHANNEL_3) != HAL_OK)
  {
    Error_Handler();
  }
  if (HAL_TIM_IC_ConfigChannel(&htim3, &sConfigIC, TIM_CHANNEL_4) != HAL_OK)
  {
    Error_Handler();
  }

}

static void MX_TIM5_Init(void)
{

  TIM_ClockConfigTypeDef sClockSourceConfig = {0};
  TIM_MasterConfigTypeDef sMasterConfig = {0};

  htim5.Instance = TIM5;
  htim5.Init.Prescaler = 4200-1;
  htim5.Init.CounterMode = TIM_COUNTERMODE_UP;
  htim5.Init.Period = 10000-1;
  htim5.Init.ClockDivision = TIM_CLOCKDIVISION_DIV1;
  htim5.Init.AutoReloadPreload = TIM_AUTORELOAD_PRELOAD_ENABLE;
  if (HAL_TIM_Base_Init(&htim5) != HAL_OK)
  {
    Error_Handler();
  }
  sClockSourceConfig.ClockSource = TIM_CLOCKSOURCE_INTERNAL;
  if (HAL_TIM_ConfigClockSource(&htim5, &sClockSourceConfig) != HAL_OK)
  {
    Error_Handler();
  }
  sMasterConfig.MasterOutputTrigger = TIM_TRGO_UPDATE;
  sMasterConfig.MasterSlaveMode = TIM_MASTERSLAVEMODE_DISABLE;
  if (HAL_TIMEx_MasterConfigSynchronization(&htim5, &sMasterConfig) != HAL_OK)
  {
    Error_Handler();
  }

}

static void MX_USART1_UART_Init(void)
{

  huart1.Instance = USART1;
  huart1.Init.BaudRate = 9600;
  huart1.Init.WordLength = UART_WORDLENGTH_8B;
  huart1.Init.StopBits = UART_STOPBITS_1;
  huart1.Init.Parity = UART_PARITY_NONE;
  huart1.Init.Mode = UART_MODE_TX_RX;
  huart1.Init.HwFlowCtl = UART_HWCONTROL_NONE;
  huart1.Init.OverSampling = UART_OVERSAMPLING_16;
  if (HAL_UART_Init(&huart1) != HAL_OK)
  {
    Error_Handler();
  }

}

static void MX_USART2_UART_Init(void)
{

  huart2.Instance = USART2;
  huart2.Init.BaudRate = 115200;
  huart2.Init.WordLength = UART_WORDLENGTH_8B;
  huart2.Init.StopBits = UART_STOPBITS_1;
  huart2.Init.Parity = UART_PARITY_NONE;
  huart2.Init.Mode = UART_MODE_TX_RX;
  huart2.Init.HwFlowCtl = UART_HWCONTROL_NONE;
  huart2.Init.OverSampling = UART_OVERSAMPLING_16;
  if (HAL_UART_Init(&huart2) != HAL_OK)
  {
    Error_Handler();
  }

}

static void MX_USART6_UART_Init(void)
{

  huart6.Instance = USART6;
  huart6.Init.BaudRate = 9600;
  huart6.Init.WordLength = UART_WORDLENGTH_8B;
  huart6.Init.StopBits = UART_STOPBITS_1;
  huart6.Init.Parity = UART_PARITY_NONE;
  huart6.Init.Mode = UART_MODE_TX_RX;
  huart6.Init.HwFlowCtl = UART_HWCONTROL_NONE;
  huart6.Init.OverSampling = UART_OVERSAMPLING_16;
  if (HAL_UART_Init(&huart6) != HAL_OK)
  {
    Error_Handler();
  }

}

static void MX_DMA_Init(void)
{

  /* DMA controller clock enable */
  __HAL_RCC_DMA2_CLK_ENABLE();

  /* DMA interrupt init */
  /* DMA2_Stream0_IRQn interrupt configuration */
  HAL_NVIC_SetPriority(DMA2_Stream0_IRQn, 5, 0);
  HAL_NVIC_EnableIRQ(DMA2_Stream0_IRQn);

}

static void MX_GPIO_Init(void)
{
  GPIO_InitTypeDef GPIO_InitStruct = {0};

  /* GPIO Ports Clock Enable */
  __HAL_RCC_GPIOC_CLK_ENABLE();
  __HAL_RCC_GPIOH_CLK_ENABLE();
  __HAL_RCC_GPIOA_CLK_ENABLE();
  __HAL_RCC_GPIOB_CLK_ENABLE();

  /*Configure GPIO pin Output Level */
  HAL_GPIO_WritePin(LD2_GPIO_Port, LD2_Pin, GPIO_PIN_RESET);

  /*Configure GPIO pin Output Level */
  HAL_GPIO_WritePin(GPIOC, BBtrig_Pin|FRtrig_Pin|FLtrig_Pin|FFtrig_Pin, GPIO_PIN_RESET);

  /*Configure GPIO pin Output Level */
  HAL_GPIO_WritePin(GPIOB, IN1_Pin|IN4_Pin|IN2_Pin|IN3_Pin, GPIO_PIN_RESET);

  /*Configure GPIO pin : B1_Pin */
  GPIO_InitStruct.Pin = B1_Pin;
  GPIO_InitStruct.Mode = GPIO_MODE_IT_FALLING;
  GPIO_InitStruct.Pull = GPIO_NOPULL;
  HAL_GPIO_Init(B1_GPIO_Port, &GPIO_InitStruct);

  /*Configure GPIO pin : LD2_Pin */
  GPIO_InitStruct.Pin = LD2_Pin;
  GPIO_InitStruct.Mode = GPIO_MODE_OUTPUT_PP;
  GPIO_InitStruct.Pull = GPIO_NOPULL;
  GPIO_InitStruct.Speed = GPIO_SPEED_FREQ_LOW;
  HAL_GPIO_Init(LD2_GPIO_Port, &GPIO_InitStruct);

  /*Configure GPIO pins : BBtrig_Pin FRtrig_Pin FLtrig_Pin FFtrig_Pin */
  GPIO_InitStruct.Pin = BBtrig_Pin|FRtrig_Pin|FLtrig_Pin|FFtrig_Pin;
  GPIO_InitStruct.Mode = GPIO_MODE_OUTPUT_PP;
  GPIO_InitStruct.Pull = GPIO_NOPULL;
  GPIO_InitStruct.Speed = GPIO_SPEED_FREQ_LOW;
  HAL_GPIO_Init(GPIOC, &GPIO_InitStruct);

  /*Configure GPIO pins : IN1_Pin IN4_Pin IN2_Pin IN3_Pin */
  GPIO_InitStruct.Pin = IN1_Pin|IN4_Pin|IN2_Pin|IN3_Pin;
  GPIO_InitStruct.Mode = GPIO_MODE_OUTPUT_PP;
  GPIO_InitStruct.Pull = GPIO_NOPULL;
  GPIO_InitStruct.Speed = GPIO_SPEED_FREQ_LOW;
  HAL_GPIO_Init(GPIOB, &GPIO_InitStruct);

  /* EXTI interrupt init*/
  HAL_NVIC_SetPriority(EXTI15_10_IRQn, 5, 0);
  HAL_NVIC_EnableIRQ(EXTI15_10_IRQn);

}

/* USER CODE BEGIN 4 */
uint32_t lastMotorMode = 0;

/* debug */
uint32_t lastPrintTime = 0;
uint32_t currentTime;

/* USER CODE END 4 */

void StartTask1(void const * argument)
{
  /* USER CODE BEGIN 5 */
  /* Infinite loop */
  for(;;)
  {
	  // Motor Mode Change only detect Mcntr change
	  if(lastMotorMode != Mcntr)
	  {
		lastMotorMode = Mcntr;
		Motor_Mode(lastMotorMode);
	  }
	  driving_mode();
//	  unsigned char testbuf2[50];
//	  sprintf(testbuf2[50],"D:%d,B:%d,W:%d,S:%d,M:%d\r\n", drive_set, BLE_point, ESP_send, safe_st, map_set);
//	  printe(testbuf2);
	  printf("D:%d,B:%d,W:%d,S:%d,M:%d\r\n", drive_set, BLE_point, ESP_send, safe_st, map_set);
	  printf("RL:%d,Z:%d,LP:%d\r\n", RL_cnt, MAX_D, left_param);
	  osDelay(100);
//	  unsigned char testbuf2[50];
//	  sprintf(testbuf2,"z:%d,dp:%d,ds:%d,Mm:%d                     \r\n",MAX_D, desti_param, drive_set, Move_mode);
//	  printe(testbuf2);

	  /* Debug */
	  //printf("%d\r\n",Mcntr);
//	  unsigned char testbuf2[50];
//	  sprintf(testbuf2,"F:%d,R:%d,L:%d,B:%d                   \r\n",(int)FF_dist, (int)FR_dist, (int)FL_dist, (int)BB_dist);
//	  printe(testbuf2);
	  osDelay(10);
  }
  /* USER CODE END 5 */
}

void StartTask02(void const * argument)
{
  /* USER CODE BEGIN StartTask02 */
  /* Infinite loop */
  for(;;)
  {
	// 1. FFtrig
	HAL_GPIO_WritePin(FFtrig_GPIO_Port, FFtrig_Pin, GPIO_PIN_SET);  // FFtrig HIGH
	osDelay(1);  // 1ms High
	HAL_GPIO_WritePin(FFtrig_GPIO_Port, FFtrig_Pin, GPIO_PIN_RESET);  // FFtrig LOW
	//driving_mode();
	osDelay(100);  // Calculation Delay

	// 2. FRtrig
	HAL_GPIO_WritePin(FRtrig_GPIO_Port, FRtrig_Pin, GPIO_PIN_SET);  // FFtrig HIGH
	osDelay(1);  // 1ms High
	HAL_GPIO_WritePin(FRtrig_GPIO_Port, FRtrig_Pin, GPIO_PIN_RESET);  // FFtrig LOW
	//driving_mode();
	osDelay(100);  // Calculation Delay

	// 3. FLtrig
	HAL_GPIO_WritePin(FLtrig_GPIO_Port, FLtrig_Pin, GPIO_PIN_SET);  // FFtrig HIGH
	osDelay(1);  // 1ms High
	HAL_GPIO_WritePin(FLtrig_GPIO_Port, FLtrig_Pin, GPIO_PIN_RESET);  // FFtrig LOW
	//driving_mode();
	osDelay(100);  // Calculation Delay

	// 4. BBtrig
	HAL_GPIO_WritePin(BBtrig_GPIO_Port, BBtrig_Pin, GPIO_PIN_SET);  // FFtrig HIGH
	osDelay(1);  // 1ms High
	HAL_GPIO_WritePin(BBtrig_GPIO_Port, BBtrig_Pin, GPIO_PIN_RESET);  // FFtrig LOW
	//driving_mode();
	osDelay(100);  // Calculation Delay
  }
  /* USER CODE END StartTask02 */
}

void StartTask03(void const * argument)
{
  /* USER CODE BEGIN StartTask03 */
  /* Infinite loop */
  for(;;)
  {
//	Read_Z_Angle(&MAX_D);
//	osDelay(1000);
	  // ESP Set
	//Voltage_state();
	if(esp_set == 0)
	{
		HAL_UART_Transmit(&huart6, "AT+CIPMUX=1", 11, 10);            // 0: single connection mode, 1: multi connection mode
		HAL_UART_Transmit(&huart6, "\r\n", 2, 10);
		osDelay(3000);
	}
	else if(TCP_connect && (esp_set == 1))
	{
		//HARMAN TCP SERVER CONNECT
		HAL_UART_Transmit(&huart6, "AT+CIPSTART", 11, 10);
		HAL_UART_Transmit(&huart6, "=4,\"TCP\",\"1", 11, 10);
		HAL_UART_Transmit(&huart6, "92.168.0.6", 10, 10);
		HAL_UART_Transmit(&huart6, "9\",3000\r\n", 9, 10);      // SERVER Connect
		osDelay(2000);
	}
	else if(drive_set == 0)
	{
		if(server_con == 0)
		{
			printe("8000");
			server_con = 1;
			osDelay(10);
		}
		Voltage_state();
		osDelay(1000);
	}
	else if(drive_set == 1)
	{
		SEND_INFO();
		MAP_LOAD();
		osDelay(100);
	}
	else
	{
		SEND_INFO();
		Read_Z_Angle(&MAX_D);
		osDelay(10);
	}
	osDelay(1);
  }
  /* USER CODE END StartTask03 */
}

void HAL_TIM_PeriodElapsedCallback(TIM_HandleTypeDef *htim)
{
  /* USER CODE BEGIN Callback 0 */
	if (htim->Instance == TIM5) {
			// Timer5 interrupt : 0.5 sec Period
		if(drive_set != 0) HAL_UART_Transmit(&huart1, "AT+INQ\r\n", 8, 10);
		//else				Voltage_state();
		}
//	else if (htim->Instance == TIM3) {
//			// Timer3 interrupt	0.06 sec Period
//		if(drive_set == 0)	Voltage_state();
//	}
  /* USER CODE END Callback 0 */
  if (htim->Instance == TIM10) {
    HAL_IncTick();
  }
}

void Error_Handler(void)
{
  __disable_irq();
  while (1)
  {
  }
}
